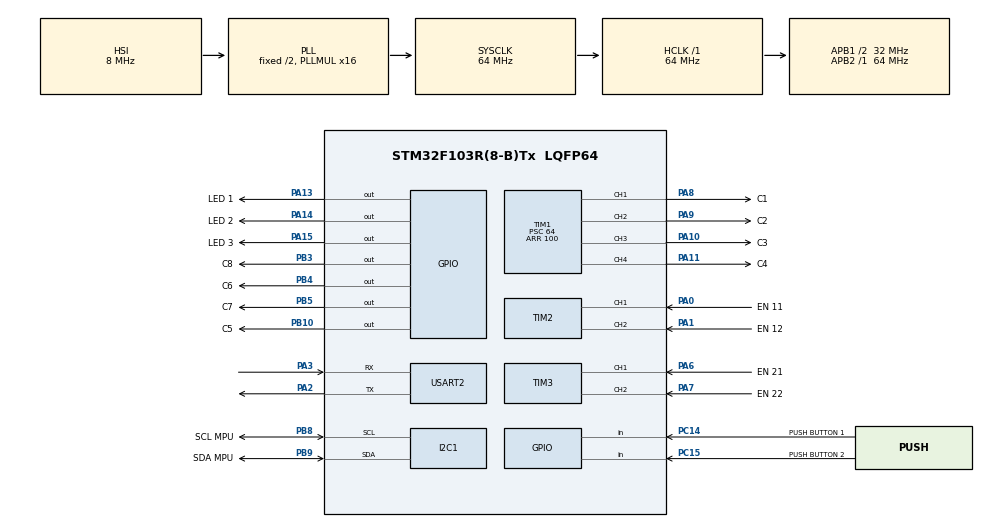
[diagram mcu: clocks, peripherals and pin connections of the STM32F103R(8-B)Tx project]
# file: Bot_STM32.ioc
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Mcu.Family=STM32F1
Mcu.Name=STM32F103R(8-B)Tx
Mcu.Package=LQFP64
NVIC.PriorityGroup=NVIC_PRIORITYGROUP_4
PA0-WKUP.GPIO_Label=EN 11
PA0-WKUP.GPIO_PuPd=GPIO_PULLUP
PA0-WKUP.Signal=S_TIM2_CH1_ETR
PA1.GPIO_Label=EN 12
PA1.GPIO_PuPd=GPIO_PULLUP
PA1.Signal=S_TIM2_CH2
PA10.GPIO_Label=C3
PA10.GPIO_Speed=GPIO_SPEED_FREQ_HIGH
PA10.Signal=S_TIM1_CH3
PA11.GPIO_Label=C4
PA11.GPIO_Speed=GPIO_SPEED_FREQ_HIGH
PA11.Signal=S_TIM1_CH4
PA13.GPIO_Label=LED 1
PA13.Signal=GPIO_Output
PA14.GPIO_Label=LED 2
PA14.Signal=GPIO_Output
PA15.GPIO_Label=LED 3
PA15.Signal=GPIO_Output
PA2.Mode=Asynchronous
PA2.Signal=USART2_TX
PA3.Mode=Asynchronous
PA3.Signal=USART2_RX
PA6.GPIO_Label=EN 21
PA6.GPIO_PuPd=GPIO_PULLUP
PA6.Signal=S_TIM3_CH1
PA7.GPIO_Label=EN 22
PA7.GPIO_PuPd=GPIO_PULLUP
PA7.Signal=S_TIM3_CH2
PA8.GPIO_Label=C1
PA8.GPIO_Speed=GPIO_SPEED_FREQ_HIGH
PA8.Signal=S_TIM1_CH1
PA9.GPIO_Label=C2
PA9.GPIO_Speed=GPIO_SPEED_FREQ_HIGH
PA9.Signal=S_TIM1_CH2
PB10.GPIO_Label=C5
PB10.Signal=GPIO_Output
PB3.GPIO_Label=C8
PB3.Signal=GPIO_Output
PB4.GPIO_Label=C6
PB4.Signal=GPIO_Output
PB5.GPIO_Label=C7
PB5.Signal=GPIO_Output
PB8.GPIO_Label=SCL MPU
PB8.Mode=I2C
PB8.Signal=I2C1_SCL
PB9.GPIO_Label=SDA MPU
PB9.Mode=I2C
PB9.Signal=I2C1_SDA
PC14-OSC32_IN.GPIO_Label=PUSH BUTTON 1 
PC14-OSC32_IN.GPIO_PuPd=GPIO_PULLDOWN
PC14-OSC32_IN.Signal=GPIO_Input
PC15-OSC32_OUT.GPIO_Label=PUSH BUTTON 2
PC15-OSC32_OUT.Signal=GPIO_Input
ProjectManager.HeapSize=0x200
ProjectManager.StackSize=0x400
ProjectManager.TargetToolchain=STM32CubeIDE
RCC.AHBFreq_Value=64000000
RCC.APB1CLKDivider=RCC_HCLK_DIV2
RCC.APB1Freq_Value=32000000
RCC.APB1TimFreq_Value=64000000
RCC.APB2Freq_Value=64000000
RCC.APB2TimFreq_Value=64000000
RCC.HCLKFreq_Value=64000000
RCC.PLLMUL=RCC_PLL_MUL16
RCC.RTCClockSelection=RCC_RTCCLKSOURCE_LSE
RCC.SYSCLKFreq_VALUE=64000000
RCC.SYSCLKSource=RCC_SYSCLKSOURCE_PLLCLK
RCC.USBFreq_Value=64000000
SH.S_TIM1_CH1.0=TIM1_CH1,PWM Generation1 CH1
SH.S_TIM1_CH2.0=TIM1_CH2,PWM Generation2 CH2
SH.S_TIM1_CH3.0=TIM1_CH3,PWM Generation3 CH3
SH.S_TIM1_CH4.0=TIM1_CH4,PWM Generation4 CH4
SH.S_TIM2_CH1_ETR.0=TIM2_CH1,Encoder_Interface
SH.S_TIM2_CH2.0=TIM2_CH2,Encoder_Interface
SH.S_TIM3_CH1.0=TIM3_CH1,Encoder_Interface
SH.S_TIM3_CH2.0=TIM3_CH2,Encoder_Interface
TIM1.Channel-PWM\ Generation1\ CH1=TIM_CHANNEL_1
TIM1.Channel-PWM\ Generation2\ CH2=TIM_CHANNEL_2
TIM1.Channel-PWM\ Generation3\ CH3=TIM_CHANNEL_3
TIM1.Channel-PWM\ Generation4\ CH4=TIM_CHANNEL_4
TIM1.Period=100
TIM1.Prescaler=64
TIM2.EncoderMode=TIM_ENCODERMODE_TI12
TIM3.EncoderMode=TIM_ENCODERMODE_TI12
USART2.VirtualMode=VM_ASYNC
VP_SYS_VS_ND.Mode=No_Debug
board=NUCLEO-F103RB

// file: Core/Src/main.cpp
/* USER CODE BEGIN Header */
/**
  ******************************************************************************
  * @file           : main.c
  * @brief          : Main program body
  ******************************************************************************
  * @attention
  *
  * <h2><center>&copy; Copyright (c) 2021 STMicroelectronics.
  * All rights reserved.</center></h2>
  *
  * This software component is licensed by ST under BSD 3-Clause license,
  * the "License"; You may not use this file except in compliance with the
  * License. You may obtain a copy of the License at:
  *                        opensource.org/licenses/BSD-3-Clause
  *
  ******************************************************************************
  */
/* USER CODE END Header */
#include "main.h"

/* USER CODE BEGIN Includes */
#include <stdio.h>
#include <string.h>
#include "Motor.h"
#include "Encoder.h"
#include "Debug.h"
#include "Base.h"
/* USER CODE END Includes */

I2C_HandleTypeDef hi2c1;

TIM_HandleTypeDef htim1;
TIM_HandleTypeDef htim2;
TIM_HandleTypeDef htim3;

UART_HandleTypeDef huart2;

void SystemClock_Config(void);
static void MX_GPIO_Init(void);
static void MX_USART2_UART_Init(void);
static void MX_I2C1_Init(void);
static void MX_TIM1_Init(void);
static void MX_TIM2_Init(void);
static void MX_TIM3_Init(void);

int main(void)
{
  /* USER CODE BEGIN 1 */
  char buf[32];
  /* USER CODE END 1 */

  /* MCU Configuration--------------------------------------------------------*/

  /* Reset of all peripherals, Initializes the Flash interface and the Systick. */
  HAL_Init();

  /* Configure the system clock */
  SystemClock_Config();

  /* Initialize all configured peripherals */
  MX_GPIO_Init();
  MX_USART2_UART_Init();
  MX_I2C1_Init();
  MX_TIM1_Init();
  MX_TIM2_Init();
  MX_TIM3_Init();
  /* USER CODE BEGIN 2 */
  Motor motor_1(GPIOB, GPIO_PIN_10, &htim1, TIM_CHANNEL_1, TIM1);
  Motor motor_2(GPIOB, GPIO_PIN_5, &htim1, TIM_CHANNEL_3, TIM1);
  Motor motor_3(GPIOB, GPIO_PIN_3, &htim1, TIM_CHANNEL_4, TIM1);
  Motor motor_4(GPIOB, GPIO_PIN_4, &htim1, TIM_CHANNEL_2, TIM1);
  Base bot(&motor_1, &motor_2, &motor_3, &motor_4);
  Encoder encoder_1(&htim2);
  Encoder encoder_2(&htim3);
  Debug debug(&huart2);
  /* USER CODE END 2 */

  /* Infinite loop */
  while (1)
  {
	  sprintf(buf, "Pushbtn : %d\r\n", HAL_GPIO_ReadPin(GPIOC, GPIO_PIN_15));
	  debug.uprintf(buf);
//	  while((encoder_1.read() + encoder_2.read()) / 2 < 1000) {
//		  bot.forward(50, 50, 50, 50);
//	  }
//	  motor_4.clockwise(100);
//	  sprintf(buf, "En 1 : %ld\tEn 2 : %ld\r\n", encoder_1.read(), encoder_2.read());
//	  debug.uprintf(buf);
//	  motor_1.anti_clockwise(100);
//	  motor_2.anti_clockwise(100);
//	  motor_3.anti_clockwise(100);
//	  motor_4.anti_clockwise(100);
//	  HAL_Delay(1000);
//	  bot.bot_brake();
//	  while(1);
  }
}

void SystemClock_Config(void)
{
  RCC_OscInitTypeDef RCC_OscInitStruct = {0};
  RCC_ClkInitTypeDef RCC_ClkInitStruct = {0};

  /** Initializes the RCC Oscillators according to the specified parameters
  * in the RCC_OscInitTypeDef structure.
  */
  RCC_OscInitStruct.OscillatorType = RCC_OSCILLATORTYPE_HSI;
  RCC_OscInitStruct.HSIState = RCC_HSI_ON;
  RCC_OscInitStruct.HSICalibrationValue = RCC_HSICALIBRATION_DEFAULT;
  RCC_OscInitStruct.PLL.PLLState = RCC_PLL_ON;
  RCC_OscInitStruct.PLL.PLLSource = RCC_PLLSOURCE_HSI_DIV2;
  RCC_OscInitStruct.PLL.PLLMUL = RCC_PLL_MUL16;
  if (HAL_RCC_OscConfig(&RCC_OscInitStruct) != HAL_OK)
  {
    Error_Handler();
  }
  /** Initializes the CPU, AHB and APB buses clocks
  */
  RCC_ClkInitStruct.ClockType = RCC_CLOCKTYPE_HCLK|RCC_CLOCKTYPE_SYSCLK
                              |RCC_CLOCKTYPE_PCLK1|RCC_CLOCKTYPE_PCLK2;
  RCC_ClkInitStruct.SYSCLKSource = RCC_SYSCLKSOURCE_PLLCLK;
  RCC_ClkInitStruct.AHBCLKDivider = RCC_SYSCLK_DIV1;
  RCC_ClkInitStruct.APB1CLKDivider = RCC_HCLK_DIV2;
  RCC_ClkInitStruct.APB2CLKDivider = RCC_HCLK_DIV1;

  if (HAL_RCC_ClockConfig(&RCC_ClkInitStruct, FLASH_LATENCY_2) != HAL_OK)
  {
    Error_Handler();
  }
}

static void MX_I2C1_Init(void)
{

  hi2c1.Instance = I2C1;
  hi2c1.Init.ClockSpeed = 100000;
  hi2c1.Init.DutyCycle = I2C_DUTYCYCLE_2;
  hi2c1.Init.OwnAddress1 = 0;
  hi2c1.Init.AddressingMode = I2C_ADDRESSINGMODE_7BIT;
  hi2c1.Init.DualAddressMode = I2C_DUALADDRESS_DISABLE;
  hi2c1.Init.OwnAddress2 = 0;
  hi2c1.Init.GeneralCallMode = I2C_GENERALCALL_DISABLE;
  hi2c1.Init.NoStretchMode = I2C_NOSTRETCH_DISABLE;
  if (HAL_I2C_Init(&hi2c1) != HAL_OK)
  {
    Error_Handler();
  }

}

static void MX_TIM1_Init(void)
{

  TIM_MasterConfigTypeDef sMasterConfig = {0};
  TIM_OC_InitTypeDef sConfigOC = {0};
  TIM_BreakDeadTimeConfigTypeDef sBreakDeadTimeConfig = {0};

  htim1.Instance = TIM1;
  htim1.Init.Prescaler = 64;
  htim1.Init.CounterMode = TIM_COUNTERMODE_UP;
  htim1.Init.Period = 100;
  htim1.Init.ClockDivision = TIM_CLOCKDIVISION_DIV1;
  htim1.Init.RepetitionCounter = 0;
  htim1.Init.AutoReloadPreload = TIM_AUTORELOAD_PRELOAD_DISABLE;
  if (HAL_TIM_PWM_Init(&htim1) != HAL_OK)
  {
    Error_Handler();
  }
  sMasterConfig.MasterOutputTrigger = TIM_TRGO_RESET;
  sMasterConfig.MasterSlaveMode = TIM_MASTERSLAVEMODE_DISABLE;
  if (HAL_TIMEx_MasterConfigSynchronization(&htim1, &sMasterConfig) != HAL_OK)
  {
    Error_Handler();
  }
  sConfigOC.OCMode = TIM_OCMODE_PWM1;
  sConfigOC.Pulse = 0;
  sConfigOC.OCPolarity = TIM_OCPOLARITY_HIGH;
  sConfigOC.OCNPolarity = TIM_OCNPOLARITY_HIGH;
  sConfigOC.OCFastMode = TIM_OCFAST_DISABLE;
  sConfigOC.OCIdleState = TIM_OCIDLESTATE_RESET;
  sConfigOC.OCNIdleState = TIM_OCNIDLESTATE_RESET;
  if (HAL_TIM_PWM_ConfigChannel(&htim1, &sConfigOC, TIM_CHANNEL_1) != HAL_OK)
  {
    Error_Handler();
  }
  if (HAL_TIM_PWM_ConfigChannel(&htim1, &sConfigOC, TIM_CHANNEL_2) != HAL_OK)
  {
    Error_Handler();
  }
  if (HAL_TIM_PWM_ConfigChannel(&htim1, &sConfigOC, TIM_CHANNEL_3) != HAL_OK)
  {
    Error_Handler();
  }
  if (HAL_TIM_PWM_ConfigChannel(&htim1, &sConfigOC, TIM_CHANNEL_4) != HAL_OK)
  {
    Error_Handler();
  }
  sBreakDeadTimeConfig.OffStateRunMode = TIM_OSSR_DISABLE;
  sBreakDeadTimeConfig.OffStateIDLEMode = TIM_OSSI_DISABLE;
  sBreakDeadTimeConfig.LockLevel = TIM_LOCKLEVEL_OFF;
  sBreakDeadTimeConfig.DeadTime = 0;
  sBreakDeadTimeConfig.BreakState = TIM_BREAK_DISABLE;
  sBreakDeadTimeConfig.BreakPolarity = TIM_BREAKPOLARITY_HIGH;
  sBreakDeadTimeConfig.AutomaticOutput = TIM_AUTOMATICOUTPUT_DISABLE;
  if (HAL_TIMEx_ConfigBreakDeadTime(&htim1, &sBreakDeadTimeConfig) != HAL_OK)
  {
    Error_Handler();
  }
  HAL_TIM_MspPostInit(&htim1);

}

static void MX_TIM2_Init(void)
{

  TIM_Encoder_InitTypeDef sConfig = {0};
  TIM_MasterConfigTypeDef sMasterConfig = {0};

  htim2.Instance = TIM2;
  htim2.Init.Prescaler = 0;
  htim2.Init.CounterMode = TIM_COUNTERMODE_UP;
  htim2.Init.Period = 65535;
  htim2.Init.ClockDivision = TIM_CLOCKDIVISION_DIV1;
  htim2.Init.AutoReloadPreload = TIM_AUTORELOAD_PRELOAD_DISABLE;
  sConfig.EncoderMode = TIM_ENCODERMODE_TI12;
  sConfig.IC1Polarity = TIM_ICPOLARITY_RISING;
  sConfig.IC1Selection = TIM_ICSELECTION_DIRECTTI;
  sConfig.IC1Prescaler = TIM_ICPSC_DIV1;
  sConfig.IC1Filter = 0;
  sConfig.IC2Polarity = TIM_ICPOLARITY_RISING;
  sConfig.IC2Selection = TIM_ICSELECTION_DIRECTTI;
  sConfig.IC2Prescaler = TIM_ICPSC_DIV1;
  sConfig.IC2Filter = 0;
  if (HAL_TIM_Encoder_Init(&htim2, &sConfig) != HAL_OK)
  {
    Error_Handler();
  }
  sMasterConfig.MasterOutputTrigger = TIM_TRGO_RESET;
  sMasterConfig.MasterSlaveMode = TIM_MASTERSLAVEMODE_DISABLE;
  if (HAL_TIMEx_MasterConfigSynchronization(&htim2, &sMasterConfig) != HAL_OK)
  {
    Error_Handler();
  }

}

static void MX_TIM3_Init(void)
{

  TIM_Encoder_InitTypeDef sConfig = {0};
  TIM_MasterConfigTypeDef sMasterConfig = {0};

  htim3.Instance = TIM3;
  htim3.Init.Prescaler = 0;
  htim3.Init.CounterMode = TIM_COUNTERMODE_UP;
  htim3.Init.Period = 65535;
  htim3.Init.ClockDivision = TIM_CLOCKDIVISION_DIV1;
  htim3.Init.AutoReloadPreload = TIM_AUTORELOAD_PRELOAD_DISABLE;
  sConfig.EncoderMode = TIM_ENCODERMODE_TI12;
  sConfig.IC1Polarity = TIM_ICPOLARITY_RISING;
  sConfig.IC1Selection = TIM_ICSELECTION_DIRECTTI;
  sConfig.IC1Prescaler = TIM_ICPSC_DIV1;
  sConfig.IC1Filter = 0;
  sConfig.IC2Polarity = TIM_ICPOLARITY_RISING;
  sConfig.IC2Selection = TIM_ICSELECTION_DIRECTTI;
  sConfig.IC2Prescaler = TIM_ICPSC_DIV1;
  sConfig.IC2Filter = 0;
  if (HAL_TIM_Encoder_Init(&htim3, &sConfig) != HAL_OK)
  {
    Error_Handler();
  }
  sMasterConfig.MasterOutputTrigger = TIM_TRGO_RESET;
  sMasterConfig.MasterSlaveMode = TIM_MASTERSLAVEMODE_DISABLE;
  if (HAL_TIMEx_MasterConfigSynchronization(&htim3, &sMasterConfig) != HAL_OK)
  {
    Error_Handler();
  }

}

static void MX_USART2_UART_Init(void)
{

  huart2.Instance = USART2;
  huart2.Init.BaudRate = 115200;
  huart2.Init.WordLength = UART_WORDLENGTH_8B;
  huart2.Init.StopBits = UART_STOPBITS_1;
  huart2.Init.Parity = UART_PARITY_NONE;
  huart2.Init.Mode = UART_MODE_TX_RX;
  huart2.Init.HwFlowCtl = UART_HWCONTROL_NONE;
  huart2.Init.OverSampling = UART_OVERSAMPLING_16;
  if (HAL_UART_Init(&huart2) != HAL_OK)
  {
    Error_Handler();
  }

}

static void MX_GPIO_Init(void)
{
  GPIO_InitTypeDef GPIO_InitStruct = {0};

  /* GPIO Ports Clock Enable */
  __HAL_RCC_GPIOC_CLK_ENABLE();
  __HAL_RCC_GPIOA_CLK_ENABLE();
  __HAL_RCC_GPIOB_CLK_ENABLE();

  /*Configure GPIO pin Output Level */
  HAL_GPIO_WritePin(GPIOB, C5_Pin|C8_Pin|C6_Pin|C7_Pin, GPIO_PIN_RESET);

  /*Configure GPIO pin Output Level */
  HAL_GPIO_WritePin(GPIOA, LED_1_Pin|LED_2_Pin|LED_3_Pin, GPIO_PIN_RESET);

  /*Configure GPIO pins : PUSH_BUTTON_1_Pin PUSH_BUTTON_2_Pin */
  GPIO_InitStruct.Pin = PUSH_BUTTON_1_Pin|PUSH_BUTTON_2_Pin;
  GPIO_InitStruct.Mode = GPIO_MODE_INPUT;
  GPIO_InitStruct.Pull = GPIO_PULLUP;
  HAL_GPIO_Init(GPIOC, &GPIO_InitStruct);

  /*Configure GPIO pins : C5_Pin C8_Pin C6_Pin C7_Pin */
  GPIO_InitStruct.Pin = C5_Pin|C8_Pin|C6_Pin|C7_Pin;
  GPIO_InitStruct.Mode = GPIO_MODE_OUTPUT_PP;
  GPIO_InitStruct.Pull = GPIO_NOPULL;
  GPIO_InitStruct.Speed = GPIO_SPEED_FREQ_LOW;
  HAL_GPIO_Init(GPIOB, &GPIO_InitStruct);

  /*Configure GPIO pins : LED_1_Pin LED_2_Pin LED_3_Pin */
  GPIO_InitStruct.Pin = LED_1_Pin|LED_2_Pin|LED_3_Pin;
  GPIO_InitStruct.Mode = GPIO_MODE_OUTPUT_PP;
  GPIO_InitStruct.Pull = GPIO_NOPULL;
  GPIO_InitStruct.Speed = GPIO_SPEED_FREQ_LOW;
  HAL_GPIO_Init(GPIOA, &GPIO_InitStruct);

}

void Error_Handler(void)
{
  __disable_irq();
  while (1)
  {
  }
}

/************************ (C) COPYRIGHT STMicroelectronics *****END OF FILE****/
